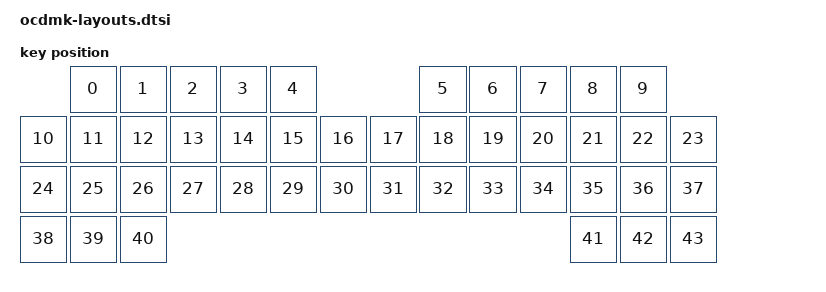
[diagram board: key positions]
// See https://zmk.dev/docs/development/hardware-integration/physical-layouts

#include <physical_layouts.dtsi>

/ {
    default_layout: default_layout {
        compatible = "zmk,physical-layout";
        display-name = "Default Layout";
        transform = <&default_transform>;
        kscan = <&kscan>;

        /*
         * 44-key split layout (22 per side)
         * Row 1: 5 keys per side (10 total)
         * Row 2: 7 keys per side (14 total)
         * Row 3: 7 keys per side (14 total)
         * Row 4: 3 keys per side (6 total)
         */
        keys  //                     w   h    x    y     rot    rx    ry
            /* Row 1 - Left (5 keys) */
            = <&key_physical_attrs 100 100  100    0       0     0     0>
            , <&key_physical_attrs 100 100  200    0       0     0     0>
            , <&key_physical_attrs 100 100  300    0       0     0     0>
            , <&key_physical_attrs 100 100  400    0       0     0     0>
            , <&key_physical_attrs 100 100  500    0       0     0     0>
            /* Row 1 - Right (5 keys) */
            , <&key_physical_attrs 100 100  800    0       0     0     0>
            , <&key_physical_attrs 100 100  900    0       0     0     0>
            , <&key_physical_attrs 100 100 1000    0       0     0     0>
            , <&key_physical_attrs 100 100 1100    0       0     0     0>
            , <&key_physical_attrs 100 100 1200    0       0     0     0>
            /* Row 2 - Left (7 keys) */
            , <&key_physical_attrs 100 100    0  100       0     0     0>
            , <&key_physical_attrs 100 100  100  100       0     0     0>
            , <&key_physical_attrs 100 100  200  100       0     0     0>
            , <&key_physical_attrs 100 100  300  100       0     0     0>
            , <&key_physical_attrs 100 100  400  100       0     0     0>
            , <&key_physical_attrs 100 100  500  100       0     0     0>
            , <&key_physical_attrs 100 100  600  100       0     0     0>
            /* Row 2 - Right (7 keys) */
            , <&key_physical_attrs 100 100  700  100       0     0     0>
            , <&key_physical_attrs 100 100  800  100       0     0     0>
            , <&key_physical_attrs 100 100  900  100       0     0     0>
            , <&key_physical_attrs 100 100 1000  100       0     0     0>
            , <&key_physical_attrs 100 100 1100  100       0     0     0>
            , <&key_physical_attrs 100 100 1200  100       0     0     0>
            , <&key_physical_attrs 100 100 1300  100       0     0     0>
            /* Row 3 - Left (7 keys) */
            , <&key_physical_attrs 100 100    0  200       0     0     0>
            , <&key_physical_attrs 100 100  100  200       0     0     0>
            , <&key_physical_attrs 100 100  200  200       0     0     0>
            , <&key_physical_attrs 100 100  300  200       0     0     0>
            , <&key_physical_attrs 100 100  400  200       0     0     0>
            , <&key_physical_attrs 100 100  500  200       0     0     0>
            , <&key_physical_attrs 100 100  600  200       0     0     0>
            /* Row 3 - Right (7 keys) */
            , <&key_physical_attrs 100 100  700  200       0     0     0>
            , <&key_physical_attrs 100 100  800  200       0     0     0>
            , <&key_physical_attrs 100 100  900  200       0     0     0>
            , <&key_physical_attrs 100 100 1000  200       0     0     0>
            , <&key_physical_attrs 100 100 1100  200       0     0     0>
            , <&key_physical_attrs 100 100 1200  200       0     0     0>
            , <&key_physical_attrs 100 100 1300  200       0     0     0>
            /* Row 4 - Left (3 keys) */
            , <&key_physical_attrs 100 100    0  300       0     0     0>
            , <&key_physical_attrs 100 100  100  300       0     0     0>
            , <&key_physical_attrs 100 100  200  300       0     0     0>
            /* Row 4 - Right (3 keys) */
            , <&key_physical_attrs 100 100 1100  300       0     0     0>
            , <&key_physical_attrs 100 100 1200  300       0     0     0>
            , <&key_physical_attrs 100 100 1300  300       0     0     0>
            ;
    };
};
